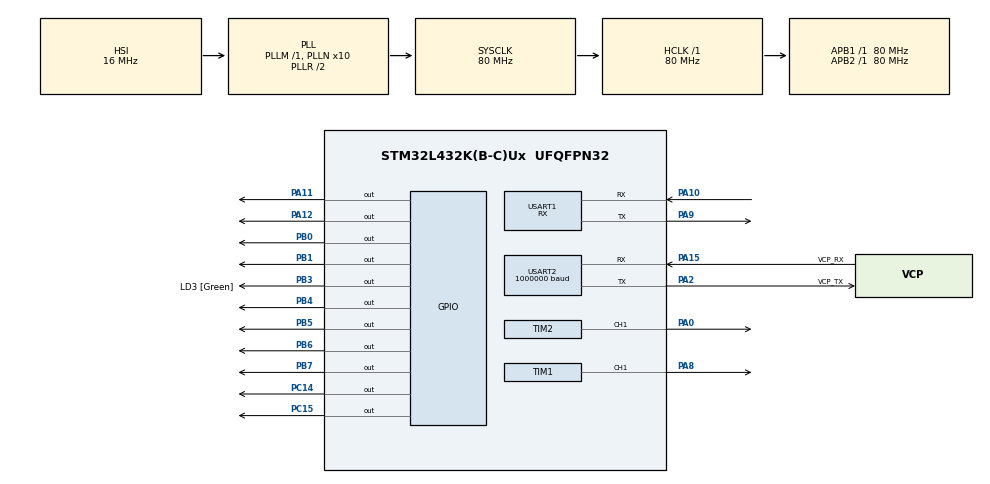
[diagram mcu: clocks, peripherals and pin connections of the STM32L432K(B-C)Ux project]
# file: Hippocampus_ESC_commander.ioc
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Dma.Request0=TIM1_CH1
Dma.Request1=USART1_RX
Dma.TIM1_CH1.0.Direction=DMA_MEMORY_TO_PERIPH
Dma.TIM1_CH1.0.Instance=DMA1_Channel2
Dma.TIM1_CH1.0.MemDataAlignment=DMA_MDATAALIGN_HALFWORD
Dma.TIM1_CH1.0.MemInc=DMA_MINC_ENABLE
Dma.TIM1_CH1.0.Mode=DMA_NORMAL
Dma.TIM1_CH1.0.PeriphDataAlignment=DMA_PDATAALIGN_HALFWORD
Dma.TIM1_CH1.0.PeriphInc=DMA_PINC_DISABLE
Dma.TIM1_CH1.0.Priority=DMA_PRIORITY_LOW
Dma.USART1_RX.1.Direction=DMA_PERIPH_TO_MEMORY
Dma.USART1_RX.1.Instance=DMA2_Channel7
Dma.USART1_RX.1.MemDataAlignment=DMA_MDATAALIGN_BYTE
Dma.USART1_RX.1.MemInc=DMA_MINC_ENABLE
Dma.USART1_RX.1.Mode=DMA_NORMAL
Dma.USART1_RX.1.PeriphDataAlignment=DMA_PDATAALIGN_BYTE
Dma.USART1_RX.1.PeriphInc=DMA_PINC_DISABLE
Dma.USART1_RX.1.Priority=DMA_PRIORITY_LOW
Mcu.Family=STM32L4
Mcu.Name=STM32L432K(B-C)Ux
Mcu.Package=UFQFPN32
NVIC.DMA1_Channel2_IRQn=true\:1\:0\:true\:false\:true\:false
NVIC.DMA2_Channel7_IRQn=true\:0\:0\:false\:false\:true\:false
NVIC.PriorityGroup=NVIC_PRIORITYGROUP_4
NVIC.TIM2_IRQn=true\:1\:0\:true\:false\:true\:true
NVIC.TIM6_DAC_IRQn=true\:2\:0\:true\:false\:true\:true
NVIC.TIM7_IRQn=true\:2\:0\:true\:false\:true\:true
NVIC.USART2_IRQn=true\:0\:0\:false\:false\:true\:true
PA0.GPIO_Speed=GPIO_SPEED_FREQ_MEDIUM
PA0.Signal=S_TIM2_CH1
PA10.Mode=Asynchronous
PA10.Signal=USART1_RX
PA11.Signal=GPIO_Output
PA12.Signal=GPIO_Output
PA13\ (JTMS-SWDIO).GPIO_Label=SWDIO
PA13\ (JTMS-SWDIO).Mode=Serial_Wire
PA13\ (JTMS-SWDIO).Signal=SYS_JTMS-SWDIO
PA14\ (JTCK-SWCLK).GPIO_Label=SWCLK
PA14\ (JTCK-SWCLK).Mode=Serial_Wire
PA14\ (JTCK-SWCLK).Signal=SYS_JTCK-SWCLK
PA15\ (JTDI).GPIO_Label=VCP_RX
PA15\ (JTDI).Mode=Asynchronous
PA15\ (JTDI).Signal=USART2_RX
PA2.GPIO_Label=VCP_TX
PA2.Mode=Asynchronous
PA2.Signal=USART2_TX
PA8.GPIO_Speed=GPIO_SPEED_FREQ_MEDIUM
PA8.Signal=S_TIM1_CH1
PA9.Mode=Asynchronous
PA9.Signal=USART1_TX
PB0.Signal=GPIO_Output
PB1.Signal=GPIO_Output
PB3\ (JTDO-TRACESWO).GPIO_Label=LD3 [Green]
PB3\ (JTDO-TRACESWO).Signal=GPIO_Output
PB4\ (NJTRST).Signal=GPIO_Output
PB5.Signal=GPIO_Output
PB6.Signal=GPIO_Output
PB7.Signal=GPIO_Output
PC14-OSC32_IN\ (PC14).Signal=GPIO_Output
PC15-OSC32_OUT\ (PC15).Signal=GPIO_Output
ProjectManager.HeapSize=0x200
ProjectManager.StackSize=0x400
ProjectManager.TargetToolchain=SW4STM32
RCC.ADCCLockSelection=RCC_ADCCLKSOURCE_SYSCLK
RCC.ADCFreq_Value=80000000
RCC.AHBFreq_Value=80000000
RCC.APB1Freq_Value=80000000
RCC.APB1TimFreq_Value=80000000
RCC.APB2Freq_Value=80000000
RCC.APB2TimFreq_Value=80000000
RCC.CK48CLockSelection=RCC_USBCLKSOURCE_HSI48
RCC.CortexFreq_Value=80000000
RCC.HCLKFreq_Value=80000000
RCC.HSE_VALUE=8000000
RCC.HSI16_VALUE=16000000
RCC.HSI48_VALUE=48000000
RCC.HSI_VALUE=16000000
RCC.LSE_VALUE=32768
RCC.MSIClockRange=RCC_MSIRANGE_11
RCC.MSI_VALUE=48000000
RCC.PLLMUL=RCC_PLLMUL_4
RCC.PLLN=10
RCC.PLLSAI1Q=RCC_PLLQ_DIV4
RCC.PLLSAI1R=RCC_PLLR_DIV8
RCC.PLLSourceVirtual=RCC_PLLSOURCE_HSI
RCC.RCC_MCO1Source=RCC_MCO1SOURCE_PLLCLK
RCC.RCC_MCODiv=RCC_MCODIV_16
RCC.RTCClockSelection=RCC_RTCCLKSOURCE_LSE
RCC.SYSCLKFreq_VALUE=80000000
RCC.SYSCLKSource=RCC_SYSCLKSOURCE_PLLCLK
RCC.USBFreq_Value=48000000
RCC.VCOOutputFreq_Value=160000000
SH.S_TIM1_CH1.0=TIM1_CH1,PWM Generation1 CH1
SH.S_TIM2_CH1.0=TIM2_CH1,PWM Generation1 CH1
TIM1.Channel-PWM\ Generation1\ CH1=TIM_CHANNEL_1
TIM1.Period=133
TIM2.Channel-PWM\ Generation1\ CH1=TIM_CHANNEL_1
TIM2.Period=166666
TIM2.Pulse-PWM\ Generation1\ CH1=80000
TIM6.Period=999
TIM6.Prescaler=79
TIM7.Period=16700
TIM7.Prescaler=79
USART1.Mode=MODE_RX
USART1.VirtualMode-Asynchronous=VM_ASYNC
USART1.WordLength=WORDLENGTH_8B
USART2.BaudRate=1000000
USART2.VirtualMode-Asynchronous=VM_ASYNC
USART2.WordLength=WORDLENGTH_8B
VP_CRC_VS_CRC.Mode=CRC_Activate
VP_TIM1_VS_ClockSourceINT.Mode=Internal
VP_TIM2_VS_ClockSourceINT.Mode=Internal
VP_TIM6_VS_ClockSourceINT.Mode=Enable_Timer
VP_TIM7_VS_ClockSourceINT.Mode=Enable_Timer
board=NUCLEO-L432KC

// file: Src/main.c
/**
  ******************************************************************************
  * @file           : main.c
  * @brief          : Main program body
  ******************************************************************************
  ** This notice applies to any and all portions of this file
  * that are not between comment pairs USER CODE BEGIN and
  * USER CODE END. Other portions of this file, whether
  * inserted by the user or by software development tools
  * are owned by their respective copyright owners.
  *
  * COPYRIGHT(c) 2018 STMicroelectronics
  *
  * Redistribution and use in source and binary forms, with or without modification,
  * are permitted provided that the following conditions are met:
  *   1. Redistributions of source code must retain the above copyright notice,
  *      this list of conditions and the following disclaimer.
  *   2. Redistributions in binary form must reproduce the above copyright notice,
  *      this list of conditions and the following disclaimer in the documentation
  *      and/or other materials provided with the distribution.
  *   3. Neither the name of STMicroelectronics nor the names of its contributors
  *      may be used to endorse or promote products derived from this software
  *      without specific prior written permission.
  *
  * THIS SOFTWARE IS PROVIDED BY THE COPYRIGHT HOLDERS AND CONTRIBUTORS "AS IS"
  * AND ANY EXPRESS OR IMPLIED WARRANTIES, INCLUDING, BUT NOT LIMITED TO, THE
  * IMPLIED WARRANTIES OF MERCHANTABILITY AND FITNESS FOR A PARTICULAR PURPOSE ARE
  * DISCLAIMED. IN NO EVENT SHALL THE COPYRIGHT HOLDER OR CONTRIBUTORS BE LIABLE
  * FOR ANY DIRECT, INDIRECT, INCIDENTAL, SPECIAL, EXEMPLARY, OR CONSEQUENTIAL
  * DAMAGES (INCLUDING, BUT NOT LIMITED TO, PROCUREMENT OF SUBSTITUTE GOODS OR
  * SERVICES; LOSS OF USE, DATA, OR PROFITS; OR BUSINESS INTERRUPTION) HOWEVER
  * CAUSED AND ON ANY THEORY OF LIABILITY, WHETHER IN CONTRACT, STRICT LIABILITY,
  * OR TORT (INCLUDING NEGLIGENCE OR OTHERWISE) ARISING IN ANY WAY OUT OF THE USE
  * OF THIS SOFTWARE, EVEN IF ADVISED OF THE POSSIBILITY OF SUCH DAMAGE.
  *
  ******************************************************************************
  */
#include "main.h"
#include "stm32l4xx_hal.h"
#include "crc.h"
#include "dma.h"
#include "tim.h"
#include "usart.h"
#include "gpio.h"

/* USER CODE BEGIN PV */
/* Private variables ---------------------------------------------------------*/
int16_t motorSettings[8];

uint16_t dshotData[136];
uint16_t currentDshotOutput;

uint32_t pwmData[8];
uint16_t currentPWMOutput;

uint8_t pcRxData;
uint8_t pcRxDataPosition;
uint8_t pcRxBuffer[50];

uint8_t escRxBuffer[10];

uint8_t missedMotorCommands;
/* USER CODE END PV */

void SystemClock_Config(void);

/* USER CODE BEGIN PFP */
/* Private function prototypes -----------------------------------------------*/
void setDshotData(int16_t cmd, uint8_t tlm, uint8_t id);
void setPwmData(int16_t cmd, uint8_t tlm, uint8_t id);
/* USER CODE END PFP */

/* USER CODE BEGIN 0 */
extern TIM_HandleTypeDef htim1;
extern TIM_HandleTypeDef htim2;
extern TIM_HandleTypeDef htim6;
extern UART_HandleTypeDef huart1;
extern UART_HandleTypeDef huart2;

void HAL_TIM_PWM_PulseFinishedCallback(TIM_HandleTypeDef *htim)
{
	HAL_GPIO_TogglePin(GPIOB, GPIO_PIN_5);
	if(htim->Instance == TIM1 && missedMotorCommands < 10)
	{
		currentDshotOutput++;
		if(currentDshotOutput < 8)
		{
			//Set multiplexer state
			if((currentDshotOutput&0x01)!= 0)
				HAL_GPIO_WritePin(GPIOA, GPIO_PIN_12, GPIO_PIN_SET);
			else
				HAL_GPIO_WritePin(GPIOA, GPIO_PIN_12, GPIO_PIN_RESET);

			if((currentDshotOutput&0x02)!= 0)
				HAL_GPIO_WritePin(GPIOB, GPIO_PIN_0, GPIO_PIN_SET);
			else
				HAL_GPIO_WritePin(GPIOB, GPIO_PIN_0, GPIO_PIN_RESET);

			if((currentDshotOutput&0x04)!= 0)
				HAL_GPIO_WritePin(GPIOB, GPIO_PIN_7, GPIO_PIN_SET);
			else
				HAL_GPIO_WritePin(GPIOB, GPIO_PIN_7, GPIO_PIN_RESET);

			HAL_TIM_PWM_Start_DMA(&htim1, TIM_CHANNEL_1, dshotData+currentDshotOutput*17, 17);
		}
		else
		{
			currentDshotOutput = 0;
		}
	}
	if(htim->Instance == TIM2 && missedMotorCommands < 10)
	{
		currentPWMOutput++;
		if(currentPWMOutput < 8)
		{
			//Set multiplexer state
			if((currentPWMOutput&0x01)!= 0)
				HAL_GPIO_WritePin(GPIOC, GPIO_PIN_14, GPIO_PIN_SET);
			else
				HAL_GPIO_WritePin(GPIOC, GPIO_PIN_14, GPIO_PIN_RESET);

			if((currentPWMOutput&0x02)!= 0)
				HAL_GPIO_WritePin(GPIOC, GPIO_PIN_15, GPIO_PIN_SET);
			else
				HAL_GPIO_WritePin(GPIOC, GPIO_PIN_15, GPIO_PIN_RESET);

			if((currentPWMOutput&0x04)!= 0)
				HAL_GPIO_WritePin(GPIOA, GPIO_PIN_11, GPIO_PIN_SET);
			else
				HAL_GPIO_WritePin(GPIOA, GPIO_PIN_11, GPIO_PIN_RESET);
			htim2.Instance->CCR1 = pwmData[currentPWMOutput];
		}
		else
		{
			currentPWMOutput = 0;
			htim2.Instance->CCR1 = 0;
			HAL_TIM_PWM_Stop_IT(&htim2, TIM_CHANNEL_1);
		}
	}
	HAL_GPIO_TogglePin(GPIOB, GPIO_PIN_5);
}

void HAL_TIM_PeriodElapsedCallback(TIM_HandleTypeDef *htim)
{
	if(htim->Instance == TIM6)
	{
		//HAL_GPIO_TogglePin(GPIOB, GPIO_PIN_4);
		HAL_GPIO_WritePin(GPIOA, GPIO_PIN_12, GPIO_PIN_RESET);
		HAL_GPIO_WritePin(GPIOB, GPIO_PIN_0, GPIO_PIN_RESET);
		HAL_GPIO_WritePin(GPIOB, GPIO_PIN_7, GPIO_PIN_RESET);
		HAL_TIM_PWM_Start_DMA(&htim1, TIM_CHANNEL_1, dshotData, 17);
		//HAL_GPIO_TogglePin(GPIOB, GPIO_PIN_4);
	}
	if(htim->Instance == TIM7)
	{
		HAL_GPIO_WritePin(GPIOC, GPIO_PIN_14, GPIO_PIN_RESET);
		HAL_GPIO_WritePin(GPIOC, GPIO_PIN_15, GPIO_PIN_RESET);
		HAL_GPIO_WritePin(GPIOA, GPIO_PIN_11, GPIO_PIN_RESET);
		htim2.Instance->CCR1 = pwmData[currentPWMOutput];
		HAL_TIM_PWM_Start_IT(&htim2, TIM_CHANNEL_1);
		if(missedMotorCommands < 255) missedMotorCommands++;
	}
}

void HAL_UART_RxCpltCallback(UART_HandleTypeDef* huart)
{
	HAL_GPIO_TogglePin(GPIOB, GPIO_PIN_4);
	if(huart->Instance == USART1)
	{

	}
	if(huart->Instance == USART2)
	{
		if(pcRxData == 0){
			//Process packet
			uint8_t nextSubstitution = pcRxBuffer[0];
			if(nextSubstitution <= pcRxDataPosition) //Make sure the substitution is inside the buffer
			{
				for(int i = 0; i < pcRxDataPosition; i++) //Iterate through the buffer
				{
					if(i == nextSubstitution){
						nextSubstitution += pcRxBuffer[i];
						if(nextSubstitution >= pcRxDataPosition)
						{
							//nextSubstitution is outside the data buffer so do something
						}
						pcRxBuffer[i] = 0;
					}
				}
				uint8_t checksum = 0;
				for(int i = 1; i < pcRxDataPosition-1; i++)
				{
					checksum += pcRxBuffer[i];
				}
				if(checksum == pcRxBuffer[pcRxDataPosition-1])
				{
					HAL_UART_Transmit_IT(&huart2, &checksum, 1);
					if(pcRxDataPosition == 18)
					{
						for(int i = 0; i < 8; i++)
						{
							setDshotData((pcRxBuffer[i*2+2] << 8) | pcRxBuffer[i*2+1], 0, i);
							setPwmData((pcRxBuffer[i*2+2] << 8) | pcRxBuffer[i*2+1], 0, i);
						}
						missedMotorCommands = 0;
					}
				}
			}
			pcRxDataPosition = 0; //Reset buffer
		}
		else
		{
			pcRxBuffer[pcRxDataPosition] = pcRxData; //put byte in the buffer
			pcRxDataPosition++; //Next byte goes in next buffer position
		}
		if(pcRxDataPosition < 50) //We can get another byte
		{
			HAL_UART_Receive_IT(&huart2, &pcRxData, 1); //Set UART to get another byte
		}
		else
		{
			//Buffer is full. Reset
			pcRxDataPosition = 0;
			HAL_UART_Receive_IT(&huart2, &pcRxData, 1);
		}
	}
	HAL_GPIO_TogglePin(GPIOB, GPIO_PIN_4);
}

void HAL_UART_ErrorCallback(UART_HandleTypeDef* huart)
{
	HAL_GPIO_TogglePin(GPIOB, GPIO_PIN_3);
	if((huart->Instance == USART2) && ((huart->ErrorCode & HAL_UART_ERROR_ORE) != RESET))
	{
		HAL_UART_Receive_IT(&huart2, &pcRxData, 1);
	}
	HAL_GPIO_TogglePin(GPIOB, GPIO_PIN_3);
}
/* USER CODE END 0 */

int main(void)
{
  /* USER CODE BEGIN 1 */
	for(int i = 0; i<=7; i++)
	{
		motorSettings[i] = 0;
	}

	for(int i = 0; i <= 7; i++)
	{
		setDshotData(0,0,i);
		setPwmData(0, 0, i);
	}
	currentDshotOutput = 0;
	currentPWMOutput = 0;
  /* USER CODE END 1 */

  /* MCU Configuration----------------------------------------------------------*/

  /* Reset of all peripherals, Initializes the Flash interface and the Systick. */
  HAL_Init();

  /* Configure the system clock */
  SystemClock_Config();

  /* Initialize all configured peripherals */
  MX_GPIO_Init();
  MX_DMA_Init();
  MX_USART2_UART_Init();
  MX_TIM1_Init();
  MX_USART1_UART_Init();
  MX_TIM2_Init();
  MX_CRC_Init();
  MX_TIM6_Init();
  MX_TIM7_Init();
  /* USER CODE BEGIN 2 */
	//Start PWM and DSHOT generation
	HAL_TIM_Base_Start_IT(&htim6);
	HAL_TIM_Base_Start_IT(&htim7);

	//Activate Multiplexers
	HAL_GPIO_WritePin(GPIOB, GPIO_PIN_6, GPIO_PIN_RESET);
	HAL_GPIO_WritePin(GPIOB, GPIO_PIN_1, GPIO_PIN_RESET);

	//HAL_UART_Receive_DMA();
	pcRxDataPosition = 0;
	missedMotorCommands = 0;
	HAL_UART_Receive_IT(&huart2, &pcRxData, 1);
  /* USER CODE END 2 */

  /* Infinite loop */
	while (1)
	{

	}

}

void SystemClock_Config(void)
{

  RCC_OscInitTypeDef RCC_OscInitStruct;
  RCC_ClkInitTypeDef RCC_ClkInitStruct;
  RCC_PeriphCLKInitTypeDef PeriphClkInit;

    /**Initializes the CPU, AHB and APB busses clocks
    */
  RCC_OscInitStruct.OscillatorType = RCC_OSCILLATORTYPE_HSI;
  RCC_OscInitStruct.HSIState = RCC_HSI_ON;
  RCC_OscInitStruct.HSICalibrationValue = 16;
  RCC_OscInitStruct.PLL.PLLState = RCC_PLL_ON;
  RCC_OscInitStruct.PLL.PLLSource = RCC_PLLSOURCE_HSI;
  RCC_OscInitStruct.PLL.PLLM = 1;
  RCC_OscInitStruct.PLL.PLLN = 10;
  RCC_OscInitStruct.PLL.PLLP = RCC_PLLP_DIV7;
  RCC_OscInitStruct.PLL.PLLQ = RCC_PLLQ_DIV2;
  RCC_OscInitStruct.PLL.PLLR = RCC_PLLR_DIV2;
  if (HAL_RCC_OscConfig(&RCC_OscInitStruct) != HAL_OK)
  {
    _Error_Handler(__FILE__, __LINE__);
  }

    /**Initializes the CPU, AHB and APB busses clocks
    */
  RCC_ClkInitStruct.ClockType = RCC_CLOCKTYPE_HCLK|RCC_CLOCKTYPE_SYSCLK
                              |RCC_CLOCKTYPE_PCLK1|RCC_CLOCKTYPE_PCLK2;
  RCC_ClkInitStruct.SYSCLKSource = RCC_SYSCLKSOURCE_PLLCLK;
  RCC_ClkInitStruct.AHBCLKDivider = RCC_SYSCLK_DIV1;
  RCC_ClkInitStruct.APB1CLKDivider = RCC_HCLK_DIV1;
  RCC_ClkInitStruct.APB2CLKDivider = RCC_HCLK_DIV1;

  if (HAL_RCC_ClockConfig(&RCC_ClkInitStruct, FLASH_LATENCY_4) != HAL_OK)
  {
    _Error_Handler(__FILE__, __LINE__);
  }

  PeriphClkInit.PeriphClockSelection = RCC_PERIPHCLK_USART1|RCC_PERIPHCLK_USART2;
  PeriphClkInit.Usart1ClockSelection = RCC_USART1CLKSOURCE_PCLK2;
  PeriphClkInit.Usart2ClockSelection = RCC_USART2CLKSOURCE_PCLK1;
  if (HAL_RCCEx_PeriphCLKConfig(&PeriphClkInit) != HAL_OK)
  {
    _Error_Handler(__FILE__, __LINE__);
  }

    /**Configure the main internal regulator output voltage
    */
  if (HAL_PWREx_ControlVoltageScaling(PWR_REGULATOR_VOLTAGE_SCALE1) != HAL_OK)
  {
    _Error_Handler(__FILE__, __LINE__);
  }

    /**Configure the Systick interrupt time
    */
  HAL_SYSTICK_Config(HAL_RCC_GetHCLKFreq()/1000);

    /**Configure the Systick
    */
  HAL_SYSTICK_CLKSourceConfig(SYSTICK_CLKSOURCE_HCLK);

  /* SysTick_IRQn interrupt configuration */
  HAL_NVIC_SetPriority(SysTick_IRQn, 0, 0);
}

/* USER CODE BEGIN 4 */
void setDshotData(int16_t cmd, uint8_t tlm, uint8_t id){
	if(id<8){
		//All stop is 0
		//Forward is 1048-2047
		//Backward is 48-1047
		if(cmd > 0){
			cmd = (cmd>>5) + 1048;
			if(cmd > 2047) cmd = 2047;
		} else if(cmd < 0) {
			cmd = ((-cmd)>>5) + 48;
			if(cmd > 1047) cmd = 1047;
		}

		cmd = cmd << 5;
		cmd = cmd | (tlm<<4);
		cmd = cmd | (( ((cmd&0xF000)>>12) ^ ((cmd&0x0F00)>>8) ^ ((cmd&0x00F0)>>4) )&0xF);
		for(int i = 0; i < 16; i++){
			if((cmd&(0x1<<(15-i)))>0){
				dshotData[i+id*17] = 100;
			}
			else {
				dshotData[i+id*17] = 50;
			}
		}
	}
}
void setPwmData(int16_t cmd, uint8_t tlm, uint8_t id){
	//All stop is 1.5ms -> 120,000 counts
	//Full reverse is 1ms -> 80,000 counts
	//Flank is 2ms -> 160,000 counts
	if(id < 8){
		int32_t counts = (cmd * 5/4) + 120000;
		if(tlm == 0)
		{
			pwmData[id] = counts;
		}
	}
}
/* USER CODE END 4 */

void _Error_Handler(char *file, int line)
{
	while(1)
	{
	}
}

/************************ (C) COPYRIGHT STMicroelectronics *****END OF FILE****/
